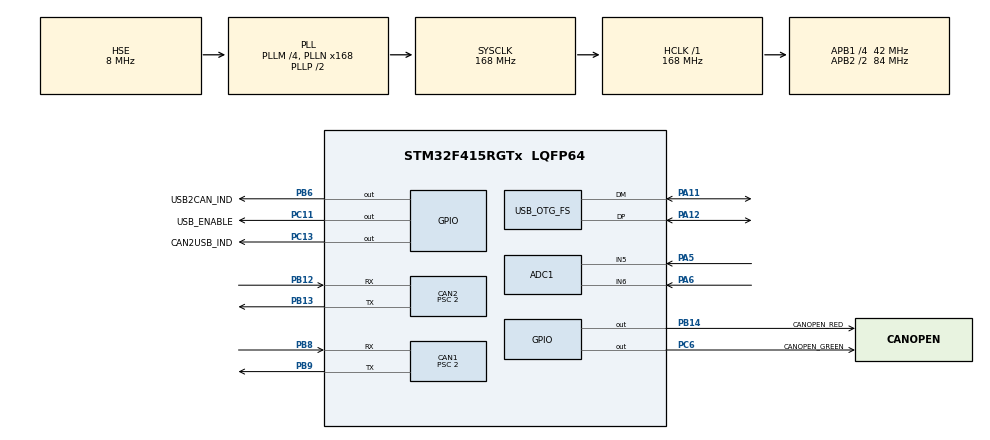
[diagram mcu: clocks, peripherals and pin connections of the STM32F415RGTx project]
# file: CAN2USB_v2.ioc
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ADC1.Channel-4\#ChannelRegularConversion=ADC_CHANNEL_6
ADC1.Channel-5\#ChannelRegularConversion=ADC_CHANNEL_5
ADC1.ContinuousConvMode=ENABLE
ADC1.DMAContinuousRequests=ENABLE
ADC1.NbrOfConversion=2
ADC1.NbrOfConversionFlag=1
ADC1.Rank-4\#ChannelRegularConversion=1
ADC1.Rank-5\#ChannelRegularConversion=2
ADC1.SamplingTime-4\#ChannelRegularConversion=ADC_SAMPLETIME_144CYCLES
ADC1.SamplingTime-5\#ChannelRegularConversion=ADC_SAMPLETIME_144CYCLES
ADC1.ScanConvMode=ENABLE
ADC1.master=1
CAN1.ABOM=ENABLE
CAN1.BS1=CAN_BS1_16TQ
CAN1.BS2=CAN_BS2_4TQ
CAN1.CalculateBaudRate=1000000
CAN1.CalculateTimeBit=1000
CAN1.CalculateTimeQuantum=47.61904761904762
CAN1.Prescaler=2
CAN2.ABOM=ENABLE
CAN2.BS1=CAN_BS1_16TQ
CAN2.BS2=CAN_BS2_4TQ
CAN2.CalculateBaudRate=1000000
CAN2.CalculateTimeBit=1000
CAN2.CalculateTimeQuantum=47.61904761904762
CAN2.NART=DISABLE
CAN2.Prescaler=2
Dma.ADC1.0.Direction=DMA_PERIPH_TO_MEMORY
Dma.ADC1.0.FIFOMode=DMA_FIFOMODE_DISABLE
Dma.ADC1.0.Instance=DMA2_Stream0
Dma.ADC1.0.MemDataAlignment=DMA_MDATAALIGN_HALFWORD
Dma.ADC1.0.MemInc=DMA_MINC_ENABLE
Dma.ADC1.0.Mode=DMA_CIRCULAR
Dma.ADC1.0.PeriphDataAlignment=DMA_PDATAALIGN_HALFWORD
Dma.ADC1.0.PeriphInc=DMA_PINC_DISABLE
Dma.ADC1.0.Priority=DMA_PRIORITY_LOW
Dma.Request0=ADC1
FREERTOS.Tasks01=defaultTask,24,128,StartDefaultTask,Default,NULL,Dynamic,NULL,NULL
FREERTOS.Timers01=timCAN_DataLogger,timDataLogger_Callback,osTimerPeriodic,Default,NULL,Dynamic,NULL;timCO_SYNC,timSYNC_Callback,osTimerPeriodic,Default,NULL,Dynamic,NULL
FREERTOS.configTIMER_TASK_PRIORITY=8
FREERTOS.configUSE_NEWLIB_REENTRANT=1
FREERTOS.configUSE_PREEMPTION=1
FREERTOS.configUSE_TRACE_FACILITY=1
Mcu.Family=STM32F4
Mcu.Name=STM32F415RGTx
Mcu.Package=LQFP64
NVIC.CAN1_RX0_IRQn=true\:5\:0\:false\:false\:true\:true\:true\:true\:true
NVIC.CAN2_RX1_IRQn=true\:5\:0\:false\:false\:true\:true\:true\:true\:true
NVIC.DMA2_Stream0_IRQn=true\:5\:0\:false\:false\:true\:true\:false\:true\:true
NVIC.OTG_FS_IRQn=true\:5\:0\:false\:false\:true\:true\:false\:true\:true
NVIC.PriorityGroup=NVIC_PRIORITYGROUP_4
NVIC.TIM3_IRQn=true\:5\:0\:false\:false\:true\:true\:true\:true\:true
NVIC.TIM6_DAC_IRQn=true\:15\:0\:false\:false\:true\:false\:false\:true\:true
NVIC.TimeBase=TIM6_DAC_IRQn
NVIC.TimeBaseIP=TIM6
PA11.Mode=Device_Only
PA11.Signal=USB_OTG_FS_DM
PA12.Mode=Device_Only
PA12.Signal=USB_OTG_FS_DP
PA13.Mode=Serial_Wire
PA13.Signal=SYS_JTMS-SWDIO
PA14.Mode=Serial_Wire
PA14.Signal=SYS_JTCK-SWCLK
PA5.Signal=ADCx_IN5
PA6.Signal=ADCx_IN6
PB12.Mode=CAN_Activate
PB12.Signal=CAN2_RX
PB13.Mode=CAN_Activate
PB13.Signal=CAN2_TX
PB14.GPIO_Label=CANOPEN_RED
PB14.Signal=GPIO_Output
PB6.GPIO_Label=USB2CAN_IND
PB6.Signal=GPIO_Output
PB8.Mode=CAN_Activate
PB8.Signal=CAN1_RX
PB9.Mode=CAN_Activate
PB9.Signal=CAN1_TX
PC11.GPIO_Label=USB_ENABLE
PC11.Signal=GPIO_Output
PC13-ANTI_TAMP.GPIO_Label=CAN2USB_IND
PC13-ANTI_TAMP.Signal=GPIO_Output
PC6.GPIO_Label=CANOPEN_GREEN
PC6.Signal=GPIO_Output
PH0-OSC_IN.Mode=HSE-External-Oscillator
PH0-OSC_IN.Signal=RCC_OSC_IN
PH1-OSC_OUT.Mode=HSE-External-Oscillator
PH1-OSC_OUT.Signal=RCC_OSC_OUT
ProjectManager.HeapSize=0x200
ProjectManager.StackSize=0x400
ProjectManager.TargetToolchain=STM32CubeIDE
RCC.48MHZClocksFreq_Value=48000000
RCC.AHBFreq_Value=168000000
RCC.APB1CLKDivider=RCC_HCLK_DIV4
RCC.APB1Freq_Value=42000000
RCC.APB1TimFreq_Value=84000000
RCC.APB2CLKDivider=RCC_HCLK_DIV2
RCC.APB2Freq_Value=84000000
RCC.APB2TimFreq_Value=168000000
RCC.CortexFreq_Value=168000000
RCC.HCLKFreq_Value=168000000
RCC.HSE_VALUE=8000000
RCC.HSI_VALUE=16000000
RCC.LSE_VALUE=32768
RCC.PLLM=4
RCC.PLLN=168
RCC.PLLQ=7
RCC.SYSCLKFreq_VALUE=168000000
RCC.SYSCLKSource=RCC_SYSCLKSOURCE_PLLCLK
RCC.VCOOutputFreq_Value=336000000
SH.ADCx_IN5.0=ADC1_IN5,IN5
SH.ADCx_IN6.0=ADC1_IN6,IN6
TIM3.Period=100-1
TIM3.Prescaler=8400-1
USB_DEVICE.CLASS_NAME_FS=CDC
USB_DEVICE.VirtualMode-CDC_FS=Cdc
USB_DEVICE.VirtualModeFS=Cdc_FS
USB_OTG_FS.VirtualMode=Device_Only
VP_FREERTOS_VS_CMSIS_V2.Mode=CMSIS_V2
VP_SYS_VS_tim6.Mode=TIM6
VP_TIM3_VS_ClockSourceINT.Mode=Internal
VP_USB_DEVICE_VS_USB_DEVICE_CDC_FS.Mode=CDC_FS
board=custom

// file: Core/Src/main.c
/* USER CODE BEGIN Header */
/**
  ******************************************************************************
  * @file           : main.c
  * @brief          : Main program body
  ******************************************************************************
  * @attention
  *
  * Copyright (c) 2023 STMicroelectronics.
  * All rights reserved.
  *
  * This software is licensed under terms that can be found in the LICENSE file
  * in the root directory of this software component.
  * If no LICENSE file comes with this software, it is provided AS-IS.
  *
  ******************************************************************************
  */
/* USER CODE END Header */
#include "main.h"
#include "cmsis_os.h"
#include "adc.h"
#include "can.h"
#include "dma.h"
#include "tim.h"
#include "usb_device.h"
#include "gpio.h"

/* USER CODE BEGIN Includes */
#include "usbd_cdc_if.h"
#include "shared_variables.h"
/* USER CODE END Includes */

/* USER CODE BEGIN PTD */

/* canOpen Node PHY settings & EPOS4 Communication object */
EPOS4 	epos4;
canOpen CO;

/* PID Controller for Steering motor */
PIDController pid;

/* DV basic structure */
DV 			   dv;
DV_Dynamics    dv_dynamics;
DV_Kinematics  dv_kinematics;
DV_Status 	   dv_status;

/* USER CODE END PTD */

/* USER CODE BEGIN PM */
BaseType_t xHigherPriorityTarget;
BaseType_t xHigherPriorityError;
/* USER CODE END PM */

/* USER CODE BEGIN PV */

/* PID Settings */
float Kp 		= -4800;
float Ki 		= 0;
float Kd 		= 0;
float tau 		= 10;
float Ts 		= 0.01;
float limMin 	= -32500;
float limMax	= 32500;
float limMinInt = -32500;
float limMaxInt = 32500;

/* Position target as given from PC */
volatile float target_position;

/* RX buffer for USB Transactions */
uint8_t buffer[64];

/* CAN2USB TX Buffer */
char    RxSp[200];
uint8_t RxData[12];

/* USER CODE END PV */

void SystemClock_Config(void);
void MX_FREERTOS_Init(void);
/* USER CODE BEGIN PFP */

/* USB full-duplex PHY communication functionalities */
uint8_t USB2CAN();

/* PC & EP0S4 status messages */
uint8_t DV_Status_Tx();

/* USER CODE END PFP */

int main(void)
{

  /* MCU Configuration--------------------------------------------------------*/

  /* Reset of all peripherals, Initializes the Flash interface and the Systick. */
    HAL_Init();

  /* Configure the system clock */

  SystemClock_Config();

  /* Initialize all configured peripherals */
  MX_GPIO_Init();
  MX_DMA_Init();
  MX_ADC1_Init();
  MX_CAN2_Init();
  MX_CAN1_Init();
  MX_TIM3_Init();

  /* Init scheduler */
  osKernelInitialize();  /* Call init function for freertos objects (in freertos.c) */
  MX_FREERTOS_Init();

  /* Start scheduler */
  osKernelStart();

  /* We should never get here as control is now taken by the scheduler */
  /* Infinite loop */
  while (1)
  {

  }
}

void SystemClock_Config(void)
{
  RCC_OscInitTypeDef RCC_OscInitStruct = {0};
  RCC_ClkInitTypeDef RCC_ClkInitStruct = {0};

  /** Configure the main internal regulator output voltage
  */
  __HAL_RCC_PWR_CLK_ENABLE();
  __HAL_PWR_VOLTAGESCALING_CONFIG(PWR_REGULATOR_VOLTAGE_SCALE1);

  /** Initializes the RCC Oscillators according to the specified parameters
  * in the RCC_OscInitTypeDef structure.
  */
  RCC_OscInitStruct.OscillatorType = RCC_OSCILLATORTYPE_HSE;
  RCC_OscInitStruct.HSEState = RCC_HSE_ON;
  RCC_OscInitStruct.PLL.PLLState = RCC_PLL_ON;
  RCC_OscInitStruct.PLL.PLLSource = RCC_PLLSOURCE_HSE;
  RCC_OscInitStruct.PLL.PLLM = 4;
  RCC_OscInitStruct.PLL.PLLN = 168;
  RCC_OscInitStruct.PLL.PLLP = RCC_PLLP_DIV2;
  RCC_OscInitStruct.PLL.PLLQ = 7;
  if (HAL_RCC_OscConfig(&RCC_OscInitStruct) != HAL_OK)
  {
    Error_Handler();
  }

  /** Initializes the CPU, AHB and APB buses clocks
  */
  RCC_ClkInitStruct.ClockType = RCC_CLOCKTYPE_HCLK|RCC_CLOCKTYPE_SYSCLK
                              |RCC_CLOCKTYPE_PCLK1|RCC_CLOCKTYPE_PCLK2;
  RCC_ClkInitStruct.SYSCLKSource = RCC_SYSCLKSOURCE_PLLCLK;
  RCC_ClkInitStruct.AHBCLKDivider = RCC_SYSCLK_DIV1;
  RCC_ClkInitStruct.APB1CLKDivider = RCC_HCLK_DIV4;
  RCC_ClkInitStruct.APB2CLKDivider = RCC_HCLK_DIV2;

  if (HAL_RCC_ClockConfig(&RCC_ClkInitStruct, FLASH_LATENCY_5) != HAL_OK)
  {
    Error_Handler();
  }
}

/* USER CODE BEGIN 4 */

/* Manages USB Transactions between PC & Autonomous CAN bus */
uint8_t USB2CAN()
{
	/* 1 byte that indicates the message received from PC */
	dv.DV_Identifier = buffer[0];

	/* No Error from PC into transmitting data to P23! */
	switch(dv.DV_Identifier)
	{
	case(0x01):

		if(dv.DV_Status->dv_health == DV_DRIVING)
		{
			/* Position of the steering shaft, as given by the PC, in (mm) */
			target_position 			       = ((float)((int16_t)((buffer[1] << 8) | buffer[2])))/1024;
			dv.DV_Dynamics->steer_target_in_mm = target_position;

			dv.DV_Dynamics->steer_target_in_deg = 4.0933 * 66.0 * target_position;
			dv.DV_Dynamics->Steering_target     = (int8_t)(dv.DV_Dynamics->steer_target_in_deg);
//			/* Transforming the signal from (linear_mm) in the steering_shaft to motor degrees
//			 * Steering angle actual_logger : To be used from ADC */
//			target_position  			        = 4.0933 * 66.0 * target_position;
//			dv.DV_Dynamics->steer_target_in_deg = target_position;
//
//			/* From motor degrees to _encoder_inc */
//			target_position = target_position * ((2.0*4096.0)/360.0);

			/* Motor Torque for P23 DV commands:
			 * - Transmit the command bytes
			 * - Read Torque_Target to verify its within regions */
			dv.DV_Dynamics->Motor_torque_command_bytes[0] = buffer[3];
			dv.DV_Dynamics->Motor_torque_command_bytes[1] = buffer[4];

			dv.DV_Dynamics->Motor_torque_target
				= ((float)((int16_t)(((buffer[3] << 8) | buffer[4]))))/128;

			/* Brake Pressure Target */
			dv.DV_Dynamics->Brake_hydr_target = (uint8_t)buffer[5];

			/* Speed readings from PC */
			dv.DV_Dynamics->Speed_actual = (uint8_t)buffer[6];
			dv.DV_Dynamics->Speed_target = (uint8_t)buffer[7];

			xTaskNotifyFromISR(Target_Handle, 0x01, eSetValueWithOverwrite, &xHigherPriorityTarget);
			portYIELD_FROM_ISR(xHigherPriorityTarget);
		}
		else
		{
			target_position 					= 0;
			dv.DV_Dynamics->steer_target_in_mm  = 0;
			dv.DV_Dynamics->steer_target_in_deg = 0;
			dv.DV_Dynamics->Steering_target     = 0;

			dv.DV_Dynamics->Motor_torque_command_bytes[0] = 0;
			dv.DV_Dynamics->Motor_torque_command_bytes[1] = 0;
			dv.DV_Dynamics->Motor_torque_target = 0;

			dv.DV_Dynamics->Brake_hydr_target   = 0;

			dv.DV_Dynamics->Speed_target 		= 0;
		}
		return true;

	case(0x02):
		/* PC returns data concerning P23 Acceleration/Gyroscope sensing */
		dv.DV_Kinematics->acc_lat 	= ((float)((int16_t)(buffer[1] << 8 | buffer[2])))/512;
		dv.DV_Kinematics->acc_long 	= ((float)((int16_t)(buffer[3] << 8 | buffer[4])))/512;
		dv.DV_Kinematics->yaw_rate  = ((float)((int16_t)(buffer[5] << 8 | buffer[6])))/128;
		return true;

	case(0x03):
		/* Reads status "nibble" from DV PC */
		dv.DV_Status->dv_health	= (buffer[1] & 0x0F);

		/* DV error Indication */
		if(dv.DV_Status->dv_health == 0x0F)
		{
			xTaskNotifyFromISR(CAN2USB_Error_Handle, 0x03, eSetValueWithOverwrite, &xHigherPriorityError);
			portYIELD_FROM_ISR(xHigherPriorityError);
		}

		// We will add more about LapCounter & more...
		dv.DV_Status->Lap_counter 		 = (buffer[1] & 0xF0) >> 4;
		dv.DV_Status->Cones_count_actual =  buffer[2];
		dv.DV_Status->Cones_count_all    = (uint16_t)((buffer[3] << 8) | buffer[4]);

		/* Hardware/Software Interface & PC Temperature */
		dv.DV_Status->hardware_flags = buffer[5];
		dv.DV_Status->software_flags = buffer[6];
		dv.DV_Status->pc_temperature = buffer[7];	// in C

		xTaskNotifyFromISR(Target_Handle, 0x03, eSetValueWithOverwrite, &xHigherPriorityTarget);
		portYIELD_FROM_ISR(xHigherPriorityTarget);
		return true;

	case(0x04):
		/* PC returns the mission has received */
		dv.DV_Status->dv_says_mission =  buffer[1] & 0x7F;
		dv.DV_Status->dv_says_lock	  = (buffer[1] & 0x80) >> 7;
		return true;
	}
	return false;
}

/* Transmit PC Status flags */
uint8_t DV_Status_Tx()
{
	/* Hardware/Software flags & PC Temperature:
	 * CAN Frame needed for P23Telemetry */
	dv.can_tx[0] = dv.DV_Status->pc_temperature;
	dv.can_tx[1] = dv.DV_Status->hardware_flags;
	dv.can_tx[2] |= dv.DV_Status->software_flags;
	dv.can_tx[3] = (uint8_t)(epos4.ep0s4_temp);
	dv.can_tx[4] = epos4.Ep0s4_Error;
	dv.can_tx[5] = 0;
	dv.can_tx[6] = 0;
	dv.can_tx[7] = 0;

	if(AutoCAN_Tx(&dv, CAN2USB_ID2, 4, dv.can_tx) != HAL_OK)
		return HAL_ERROR;

	return HAL_OK;
}

/* USER CODE END 4 */

void HAL_TIM_PeriodElapsedCallback(TIM_HandleTypeDef *htim)
{
  if (htim->Instance == TIM6) {
    HAL_IncTick();
  }
}

void Error_Handler(void)
{
  __disable_irq();
  while (1)
  {
  }
}

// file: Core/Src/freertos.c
/* USER CODE BEGIN Header */
/**
  ******************************************************************************
  * File Name          : freertos.c
  * Description        : Code for freertos applications
  ******************************************************************************
  * @attention
  *
  * Copyright (c) 2023 STMicroelectronics.
  * All rights reserved.
  *
  * This software is licensed under terms that can be found in the LICENSE file
  * in the root directory of this software component.
  * If no LICENSE file comes with this software, it is provided AS-IS.
  *
  ******************************************************************************
  */
/* USER CODE END Header */

#include "FreeRTOS.h"
#include "task.h"
#include "main.h"
#include "cmsis_os.h"

/* USER CODE BEGIN Includes */
#include "usbd_cdc_if.h"
#include "shared_variables.h"
/* USER CODE END Includes */

/* USER CODE BEGIN PD */
#define STEERING_ZERO	0
/* USER CODE END PD */

/* USER CODE BEGIN PM */

/* CAN2USB Semaphore for handling CAN_RX ISR */
SemaphoreHandle_t xSemaphoreCAN2USB;
BaseType_t xHigherPriorityCAN2USBTaskWoken = pdFALSE;

/* Main Error Handler that decides SD opening and notifies with CAN error message */
TaskHandle_t CAN2USB_Error_Handle;

/* CAN2USB USB Transactions each time we receive the needed CAN Frame */
TaskHandle_t CAN2USB_Tx_Handle;

/* Mission Selection Handler */
TaskHandle_t MissionSelect_Handle;
BaseType_t xHigherPriorityMission = pdFALSE;

/* EPOS4 Control Handler */
TaskHandle_t EP0S4_Control_Handle;
TaskHandle_t Target_Handle;

/* USER CODE END PM */

/* USER CODE BEGIN Variables */
uint8_t open_sd_int = false;

/* CANOpen SYNC variables & EP0S4 control variables */
TickType_t sync_time, sync_tick;
TickType_t control_time, control_tick;
TickType_t pc_status_time, pc_status_tick;

/* USB flag every time data are received */
extern uint8_t received;

/* Linear feedback */
int16_t linear_feedback;

/* USER CODE END Variables */
/* Definitions for defaultTask */
osThreadId_t defaultTaskHandle;
const osThreadAttr_t defaultTask_attributes = {
  .name = "defaultTask",
  .stack_size = 128 * 4,
  .priority = (osPriority_t) osPriorityNormal,
};
/* Definitions for timCAN_DataLogger */
osTimerId_t timCAN_DataLoggerHandle;
const osTimerAttr_t timCAN_DataLogger_attributes = {
  .name = "timCAN_DataLogger"
};
/* Definitions for timCO_SYNC */
osTimerId_t timCO_SYNCHandle;
const osTimerAttr_t timCO_SYNC_attributes = {
  .name = "timCO_SYNC"
};

/* USER CODE BEGIN FunctionPrototypes */

/* */
extern uint8_t DV_Status_Tx();

/* CAN2USB Error Handler */
void CAN2USB_Error_Handler();

/* CAN2USB USB Transactions each time we receive the needed CAN Frame */
void CAN2USB_Tx_Handler();

/* Mission Selection Handler */
void MissionSelection_Handler();

/* 	CANOpen Communication with EPOS4 for BLDC Control & Target Commands given from DV algorithms */
void EP0S4_Control_Handler();
void Target_Handler();

/* USER CODE END FunctionPrototypes */

void StartDefaultTask(void *argument);
void timDataLogger_Callback(void *argument);
void timSYNC_Callback(void *argument);

extern void MX_USB_DEVICE_Init(void);
void MX_FREERTOS_Init(void); /* (MISRA C 2004 rule 8.1) */

void MX_FREERTOS_Init(void) {

  /* USER CODE BEGIN RTOS_SEMAPHORES */
  /* add semaphores, ... */
  xSemaphoreCAN2USB = xSemaphoreCreateBinary();
  /* USER CODE END RTOS_SEMAPHORES */

  /* Create the timer(s) */
  /* creation of timCAN_DataLogger */
  timCAN_DataLoggerHandle = osTimerNew(timDataLogger_Callback, osTimerPeriodic, NULL, &timCAN_DataLogger_attributes);

  /* creation of timCO_SYNC */
  timCO_SYNCHandle = osTimerNew(timSYNC_Callback, osTimerPeriodic, NULL, &timCO_SYNC_attributes);

  /* USER CODE BEGIN RTOS_TIMERS */
  /* start timers, add new ones, ... */
  osTimerStart(timCO_SYNCHandle,	    50);
  osTimerStart(timCAN_DataLoggerHandle, 350);	/* DataLogger messages Timer */
  /* USER CODE END RTOS_TIMERS */

  /* Create the thread(s) */
  /* creation of defaultTask */
  defaultTaskHandle = osThreadNew(StartDefaultTask, NULL, &defaultTask_attributes);

  /* USER CODE BEGIN RTOS_THREADS */
  /* add threads, ... */

  /* CAN2USB Error Handler */
  xTaskCreate(CAN2USB_Error_Handler, 	   "CAN2USB_Error_Handle Task",  	     128, NULL, 12, &CAN2USB_Error_Handle);

  /* CAN2USB USB Transactions each time we receive the needed CAN Frame */
  xTaskCreate(CAN2USB_Tx_Handler, 		   "CAN2USB_Transmit_Handle Task",       128, NULL, 12, &CAN2USB_Tx_Handle);

  /* Mission Selection Choice Handler */
  xTaskCreate(MissionSelection_Handler,    "MissionSelection_Handle Task",       128, NULL, 12, &MissionSelect_Handle);

  /* EPOS4 Control Task Initialization */
  xTaskCreate(EP0S4_Control_Handler, 		"EP0S4_Control_Handle Task",  		 128, NULL,  7, &EP0S4_Control_Handle);
  xTaskCreate(Target_Handler, 				"Target_Handle Task",  				 128, NULL, 12, &Target_Handle);

  /* Initialize DV settings */
  DV_Init(&dv, &dv_dynamics, &dv_kinematics, &dv_status, &hcan2, &RxHeader2, &TxHeader2, &canMailbox);

  /* CanOpen & EPOS4 Control Initialization */
  EPOS4_Init(&epos4, &CO, &hcan1, &RxHeader1, &TxHeader1, &canMailbox, 1);

  /* Start ADC conversions with DMA */
  Enable_ADC_Conversions(&hadc1);

  /* USER CODE END RTOS_THREADS */

}

void StartDefaultTask(void *argument)
{
  /* init code for USB_DEVICE */
  MX_USB_DEVICE_Init();
  /* USER CODE BEGIN StartDefaultTask */
  /* Infinite loop */
  for(;;)
  {
	  /* Reset USB Acknowledgments */
	  received = false;

	  /* Reset EP0S4 variables always */
	  if(!epos4.motor_enable)
	  {
		  dv.DV_Dynamics->steer_target_in_mm  = 0;
		  dv.DV_Dynamics->steer_target_in_deg = 0;
	  }

	  /* Send every 0.5sec the PC Status information of the DriverLess PC (5Hz)*/
	  if(xTaskGetTickCount() - pc_status_tick > 490)
	  {
		  pc_status_time = xTaskGetTickCount() - pc_status_tick;
		  pc_status_tick = xTaskGetTickCount();
		  DV_Status_Tx();
	  }

	  /* Open SD intention, due to EP0S4 or PC error:
	   * Sending PC_Error message either way, if SD is closed */
	  if(open_sd_int && (!dv.DV_Status->sd_is_open))
	  {
		  uint8_t sd_open[8];
		  sd_open[0] = 0x0F;	// Byte that indicates PC_Error

		  if(AutoCAN_Tx(&dv, CAN2USB_ID1, 8, sd_open) != HAL_OK);
	  }

	  osDelay(10);
  }
  /* USER CODE END StartDefaultTask */
}

/* timDataLogger_Callback function */
void timDataLogger_Callback(void *argument)
{
  /* USER CODE BEGIN timDataLogger_Callback */
	HAL_GPIO_TogglePin(CANOPEN_GREEN_GPIO_Port, CANOPEN_GREEN_Pin);

//	if(DataLogger_TX(&dv) == HAL_OK);

  /* USER CODE END timDataLogger_Callback */
}

/* timSYNC_Callback function */
void timSYNC_Callback(void *argument)
{
  /* USER CODE BEGIN timSYNC_Callback */
	char dummySp[200];
	uint8_t data[2];

	/* TimeStamp for SYNC object */
	sync_time = xTaskGetTickCount() - sync_tick;
	sync_tick = xTaskGetTickCount();

	/* In case of AS Emergency, zero-out steering shaft, then disable EPOS4
	 * while AS Emergency is transmitted */
	if(dv.DV_Status->AS_state == AS_EMERGENCY)
	{
		dv.DV_Dynamics->Motor_torque_target = 0;
		dv.DV_Dynamics->Brake_hydr_target   = 0;
		Target_Message(&dv);
	}

	/* In case of wrong mission or mission NOT_SELECTED, don't take into account the message */
	if((dv.DV_Status->mission_selected == NOT_SELECTED) | (dv.DV_Status->mission_selected != dv.DV_Status->dv_says_mission))
	{
		dv.DV_Status->dv_says_mission = NOT_SELECTED;
	}

	/* Configure SFM for EPOS4 */
	EPOS4_app_process(&CO, &epos4);

//	/* Check Steering_Status, if EP0S4 is disabled or not */
//	if(!epos4.motor_enable)
//	{
//		dv.DV_Status->hardware_flags &= (0<<6);
//		dv.DV_Status->SteeringState = 0;
//	}
//	else
//	{
//		dv.DV_Status->hardware_flags |= STEERING_ON;
//		dv.DV_Status->SteeringState = 1;
//	}

	/* Process feedback from Linear */
	linear_feedback = (int16_t)(1024*dv.steering_linear_mm);
	data[0] = (linear_feedback >> 8);
	data[1] = (linear_feedback);

	sprintf(dummySp, "%02x%02x%02x%02x%02x\n", 0x00, 0x05, 0x02,
			data[1], data[0]);
	CDC_Transmit_FS((uint8_t*)dummySp, strlen(dummySp));

	/* Sending SYNC message in order for EPOS4 to return RPDO messages */
	if(CO.Slave_State == HB_OPERATIONAL)
	{
		send_SYNC(&CO);
	}

  /* USER CODE END timSYNC_Callback */
}

/* USER CODE BEGIN Application */

/* Task that handles PC Error if happened: Continuously transmits PC_ERROR */
void CAN2USB_Error_Handler()
{
	uint32_t error_notification;
	for(;;)
	{
		xTaskNotifyWait(0, 0xFFFFFFFF, &error_notification, portMAX_DELAY);

		/* In case of AS Emergency, zero-out steering shaft, then disable EPOS4
		 * while AS Emergency is transmitted */
		if(dv.DV_Status->AS_state == AS_EMERGENCY)
		{
			dv.DV_Dynamics->Motor_torque_target = 0;
			dv.DV_Dynamics->Brake_hydr_target   = 0;
			Target_Message(&dv);
		}

//		/* In case of any error, make sure to disable EPOS4 */
//		if(epos4.motor_enable && dv.steering_linear_mm == 0)
//		{
//			epos4.motor_enable = false;
//		}

		/* Transmit to open SD only if:
		 * - EMCY frame of EPOS4: Toggle warning LED, in case of EP0S4 EMCY problem
		 * - PC Error is indicated */
		if((CO.CO_Emergency)
		|| (dv.DV_Status->dv_health == PC_ERROR)
		|| (dv.DV_Status->AS_state == AS_EMERGENCY))
		{
			HAL_GPIO_TogglePin(CANOPEN_RED_GPIO_Port, CANOPEN_RED_Pin);
			open_sd_int = true;
		}

		osDelay(10);
	}
}

/* Task that runs continuously and handles EPOS4 control messages */
void EP0S4_Control_Handler()
{
	/* Must run continuously to update MAXON settings */
	for(;;)
	{
		/* EPOS4 Control frequency */
		control_time = xTaskGetTickCount() - control_tick;
		control_tick = xTaskGetTickCount();

		/* PID Control of MAXON Motor for Velocity control using LinearSensor measurement */
#if(!DEBUGGING)
		PIDController_Update(&pid, dv.DV_Dynamics->steer_target_in_mm, (float)dv.steering_linear_mm);
#else
		if(target_position > MAX_STEERING_MM)
			target_position = MAX_STEERING_MM;
		else if(target_position < MIN_STEERING_MM)
			target_position = MIN_STEERING_MM;

		PIDController_Update(&pid, target_position, (float)dv.steering_linear_mm);
#endif
		epos4.target_velocity = (int32_t)(pid.out);

//		/* Zero-out target velocity, whenever linear sensor reaches limits within 0.5mm */
//		if((dv.steering_linear_mm > MAX_STEERING_MM - 0.5)
//		|| (dv.steering_linear_mm < MIN_STEERING_MM + 0.5))
//		{
//			epos4.target_velocity = 0;
//		}

		/* In case of position/velocity control for EPOS4 */
		switch(epos4.mode_of_op)
		{
		case(1):	/* Profile Position (PPM) Mode control of EPOS4 */
			EPOS4_set_position(&CO, &epos4);
			break;
		case(9):	/* Profile Velocity (PVM) Mode control of EPOS4 */
			EPOS4_set_speed(&CO, &epos4);
			break;
		}

		osDelay(10);
	}
}

/* CAN2USB USB Transactions each time we receive the needed CAN Frame */
void CAN2USB_Tx_Handler()
{
	/* Infinite Loop */
	for(;;)
	{
		/* This task is notified only if CAN RX FIFO is filled with
		 * CAN Frames - Messages needed from PC and is notified, using a semaphore */
		if(xSemaphoreTake(xSemaphoreCAN2USB, portMAX_DELAY) == pdTRUE)
		{
			/* ------------------- CAN Communication with PC over USB -------------------------*/
			HAL_GPIO_TogglePin(CAN2USB_IND_GPIO_Port, CAN2USB_IND_Pin);

//			if(dv.DV_Status->AS_state == AS_EMERGENCY)
//			{
//				xTaskNotify(CAN2USB_Error_Handle, 0x00, eNoAction);
//			}

			CDC_Transmit_FS((uint8_t*)RxSp, strlen(RxSp));
			dv.rcv_time = xTaskGetTickCount() - dv.rcv_tick;
			dv.rcv_tick = xTaskGetTickCount();
			dv.rcv_flag = false;
		}
		osDelay(5);
	}
}

/* Mission Task that handles "SentOnce" messages from Dash about the mission as selected */
void MissionSelection_Handler()
{
	/* This code runs only if DashBoard sends over Mission messages */
	uint32_t tick0, lock_notification;
	for(;;)
	{
		/* Same for LOCKED / UNLOCKED commands from Dash */
		xTaskNotifyWait(0, 0xFFFFFFFF, &lock_notification, portMAX_DELAY);

		/* In case of Locked message, send ACK to PC in order to properly lock the mission.
		 * If everything checks OK, send ACK to Dash to */
		tick0 = xTaskGetTickCount();
		LockedMessageCheck(&dv, tick0);

		/* In case of UnLocked message */
		tick0 = xTaskGetTickCount();
		UnlockedMessageCheck(&dv, tick0);

		/* If PC doesn't communicate properly with CAN2USB to lock the mission
		 * CAN2USB indicates error to Dash, else lock mission */
		MissionACKCheck(&dv);

		/* Update Mission Handler, only if P23 has locked mission */
		if(dv.DV_Status->mission_locked == LOCKED)
			dv.DV_Status->PC_Locked_Mission = dv.DV_Status->dv_says_mission;

		/* Reset DV mission */
		dv.DV_Status->dv_says_mission = NOT_SELECTED;

		osDelay(5);
	}
}

/* Task that mainly handles what the CANOpen Communication with EPOS4 will involve
 * process PC status health message and control-target message */
void Target_Handler()
{
	uint32_t byte_changed;
	for(;;)
	{
		/* This task is notified only when DV PC sends target commands
		 * OR an error has occurred and we must stop the steering actuator
		 * or the torque/brake commands */
		xTaskNotifyWait(0, 0xFFFFFFFF, &byte_changed, portMAX_DELAY);

		/* Target Message as given from DV Control algorithms */
		if(dv.DV_Status->dv_health == DV_DRIVING)
		{
			Target_Message(&dv);
		}
		else
		{
			/* In case of MISSION_ENDED/PC_Error, we bypass PC commands to make sure Standstill */
			dv.DV_Dynamics->Motor_torque_target 		  = 0;
			dv.DV_Dynamics->Motor_torque_command_bytes[0] = 0;
			dv.DV_Dynamics->Motor_torque_command_bytes[1] = 0;
			dv.DV_Dynamics->Brake_hydr_target 			  = 0;
			Target_Message(&dv);
		}

		/* Enable/not MAXON motors */
		if(byte_changed == 0x03)
		{
			/* EP0S4 is enabled only if mission was selected
			 * & the AS status is AS_READY: Instructions to P23 are given
			 * if we move to AS_DRIVING */
			if(dv.DV_Status->AS_state == AS_READY
			&& (!epos4.motor_enable))
			{
				epos4.motor_enable = true;

				/* When EP0S4 is ready to be enabled, zero-out the steering shaft */
//				dv.DV_Dynamics->steer_target_in_mm = STEERING_ZERO;
			}
		}

		osDelay(5);
	}
}

/* USER CODE END Application */
